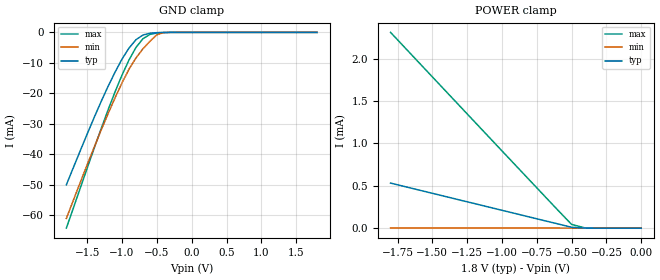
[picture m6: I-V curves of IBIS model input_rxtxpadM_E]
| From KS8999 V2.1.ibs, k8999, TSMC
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|   Model input_rxtxpadM_E
[Model]   input_rxtxpadM_E
Model_type   Input
Polarity   Non-Inverting
Vinl =   0.8V
Vinh =   2.0V
C_comp   1.52e-12F   1.59e-12F   1.48e-12F
[Temperature Range]   25   125   0
[Voltage Range]   1.80V   1.62V   1.98V
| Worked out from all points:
|   GND clamp passes 1 mA (typ) near -0.71 V on its own axis
[POWER_clamp]
| voltage   I(typ)   I(min)   I(max)
-1.8V     531.2uA    3.292uA    2.308mA
-500mV    10.32uA    87.36nA    44.06uA
-400mV    230.8nA    6.649nA    952.5nA
0V        189.4pA    1.87nA     729.6pA
[GND_clamp]
| voltage   I(typ)   I(min)   I(max)
-1.8V     -50.05mA   -61.09mA   -64.28mA
-1.4V     -27.91mA   -37.67mA   -38mA
-1.2V     -17.69mA   -26.65mA   -25.41mA
-1.1V     -13.02mA   -21.44mA   -19.47mA
-1V       -8.744mA   -16.57mA   -13.99mA
-900mV    -5.147mA   -12.07mA   -9.041mA
-800mV    -2.397mA   -8.399mA   -4.95mA
-700mV    -876.8uA   -5.394mA   -2.089mA
-600mV    -293.5uA   -2.956mA   -662.8uA
-500mV    -93.26uA   -771.2uA   -217uA
-400mV    -17.28uA   -53.61uA   -64.56uA
1.8V      189.4pA    1.945nA    680.3pA
